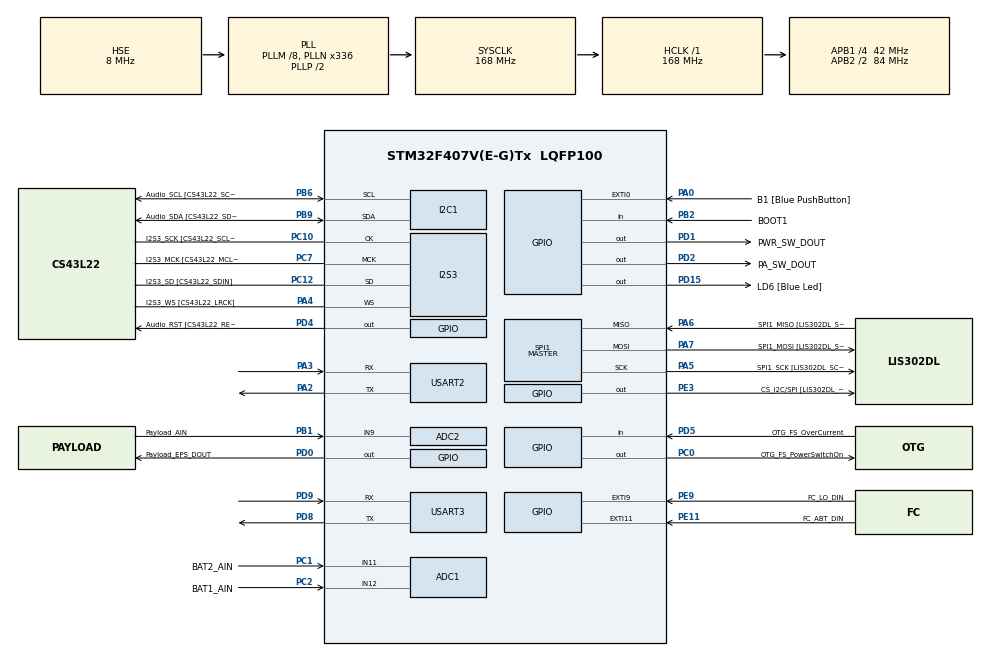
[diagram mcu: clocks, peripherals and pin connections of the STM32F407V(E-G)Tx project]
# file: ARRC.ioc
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ADC1.Channel-2\#ChannelRegularConversion=ADC_CHANNEL_11
ADC1.NbrOfConversionFlag=1
ADC1.Rank-2\#ChannelRegularConversion=1
ADC1.SamplingTime-2\#ChannelRegularConversion=ADC_SAMPLETIME_3CYCLES
ADC1.master=1
ADC2.Channel-1\#ChannelRegularConversion=ADC_CHANNEL_9
ADC2.NbrOfConversionFlag=1
ADC2.Rank-1\#ChannelRegularConversion=1
ADC2.SamplingTime-1\#ChannelRegularConversion=ADC_SAMPLETIME_3CYCLES
FREERTOS.Tasks01=defaultTask,24,128,StartDefaultTask,Default,NULL,Dynamic,NULL,NULL
FREERTOS.configENABLE_FPU=1
I2S3.AudioFreq-Half_Duplex_Master=I2S_AUDIOFREQ_96K
I2S3.ErrorAudioFreq=-2.34 %
I2S3.ErrorAudioFreq-Half_Duplex_Master=0.8 %
I2S3.FullDuplexMode=I2S_FULLDUPLEXMODE_DISABLE
I2S3.Instance=SPI$Index
I2S3.RealAudioFreq=93.75 KHz
I2S3.RealAudioFreq-Half_Duplex_Master=96.774 KHz
I2S3.VirtualMode=I2S_MODE_MASTER
IWDG.Prescaler=IWDG_PRESCALER_16
Mcu.Family=STM32F4
Mcu.Name=STM32F407V(E-G)Tx
Mcu.Package=LQFP100
NVIC.EXTI15_10_IRQn=true\:5\:0\:false\:false\:true\:false\:true\:true
NVIC.EXTI9_5_IRQn=true\:5\:0\:false\:false\:true\:false\:true\:true
NVIC.PriorityGroup=NVIC_PRIORITYGROUP_4
NVIC.USART3_IRQn=true\:5\:0\:false\:false\:true\:true\:true\:true
PA0-WKUP.GPIO_Label=B1 [Blue PushButton]
PA0-WKUP.GPIO_ModeDefaultEXTI=GPIO_MODE_EVT_RISING
PA0-WKUP.GPIO_PuPd=GPIO_NOPULL
PA0-WKUP.Signal=GPXTI0
PA10.GPIO_Label=OTG_FS_ID
PA10.GPIO_Mode=GPIO_MODE_AF_PP
PA10.GPIO_PuPd=GPIO_NOPULL
PA10.GPIO_Speed=GPIO_SPEED_FREQ_LOW
PA10.Signal=USB_OTG_FS_ID
PA11.GPIO_Label=OTG_FS_DM
PA11.GPIO_Mode=GPIO_MODE_AF_PP
PA11.GPIO_PuPd=GPIO_NOPULL
PA11.GPIO_Speed=GPIO_SPEED_FREQ_LOW
PA11.Signal=USB_OTG_FS_DM
PA12.GPIO_Label=OTG_FS_DP
PA12.GPIO_Mode=GPIO_MODE_AF_PP
PA12.GPIO_PuPd=GPIO_NOPULL
PA12.GPIO_Speed=GPIO_SPEED_FREQ_LOW
PA12.Signal=USB_OTG_FS_DP
PA13.GPIO_Label=SWDIO
PA13.Mode=Serial_Wire
PA13.Signal=SYS_JTMS-SWDIO
PA14.GPIO_Label=SWCLK
PA14.Mode=Serial_Wire
PA14.Signal=SYS_JTCK-SWCLK
PA2.Mode=Asynchronous
PA2.Signal=USART2_TX
PA3.Mode=Asynchronous
PA3.Signal=USART2_RX
PA4.GPIO_Label=I2S3_WS [CS43L22_LRCK]
PA4.GPIO_Mode=GPIO_MODE_AF_PP
PA4.GPIO_PuPd=GPIO_NOPULL
PA4.GPIO_Speed=GPIO_SPEED_FREQ_LOW
PA4.Mode=Half_Duplex_Master
PA4.Signal=I2S3_WS
PA5.GPIO_Label=SPI1_SCK [LIS302DL_SCL/SPC]
PA5.GPIO_Mode=GPIO_MODE_AF_PP
PA5.GPIO_PuPd=GPIO_NOPULL
PA5.GPIO_Speed=GPIO_SPEED_FREQ_LOW
PA5.Mode=Full_Duplex_Master
PA5.Signal=SPI1_SCK
PA6.GPIO_Label=SPI1_MISO [LIS302DL_SDO]
PA6.GPIO_Mode=GPIO_MODE_AF_PP
PA6.GPIO_PuPd=GPIO_NOPULL
PA6.GPIO_Speed=GPIO_SPEED_FREQ_LOW
PA6.Mode=Full_Duplex_Master
PA6.Signal=SPI1_MISO
PA7.GPIO_Label=SPI1_MOSI [LIS302DL_SDA/SDI/SDO]
PA7.GPIO_Mode=GPIO_MODE_AF_PP
PA7.GPIO_PuPd=GPIO_NOPULL
PA7.GPIO_Speed=GPIO_SPEED_FREQ_LOW
PA7.Mode=Full_Duplex_Master
PA7.Signal=SPI1_MOSI
PA9.GPIO_Label=VBUS_FS
PA9.GPIO_Mode=GPIO_MODE_INPUT
PA9.GPIO_PuPd=GPIO_NOPULL
PA9.Signal=USB_OTG_FS_VBUS
PB1.GPIO_Label=Payload_AIN
PB1.Signal=ADCx_IN9
PB10.GPIO_Label=CLK_IN [MP45DT02_CLK]
PB10.GPIO_Mode=GPIO_MODE_AF_PP
PB10.GPIO_PuPd=GPIO_NOPULL
PB10.GPIO_Speed=GPIO_SPEED_FREQ_LOW
PB10.Signal=I2S2_CK
PB2.GPIO_Label=BOOT1
PB2.GPIO_Mode=GPIO_MODE_INPUT
PB2.GPIO_PuPd=GPIO_NOPULL
PB2.Signal=GPIO_Input
PB3.GPIO_Label=SWO
PB3.Signal=SYS_JTDO-SWO
PB6.GPIO_Label=Audio_SCL [CS43L22_SCL]
PB6.GPIO_Mode=GPIO_MODE_AF_OD
PB6.GPIO_PuPd=GPIO_NOPULL
PB6.GPIO_Speed=GPIO_SPEED_FREQ_LOW
PB6.Mode=I2C
PB6.Signal=I2C1_SCL
PB9.GPIO_Label=Audio_SDA [CS43L22_SDA]
PB9.GPIO_Mode=GPIO_MODE_AF_OD
PB9.GPIO_PuPd=GPIO_NOPULL
PB9.GPIO_Speed=GPIO_SPEED_FREQ_LOW
PB9.Mode=I2C
PB9.Signal=I2C1_SDA
PC0.GPIO_Label=OTG_FS_PowerSwitchOn
PC0.GPIO_PuPd=GPIO_NOPULL
PC0.GPIO_Speed=GPIO_SPEED_FREQ_LOW
PC0.PinState=GPIO_PIN_SET
PC0.Signal=GPIO_Output
PC1.GPIO_Label=BAT2_AIN
PC1.Signal=ADCx_IN11
PC10.GPIO_Label=I2S3_SCK [CS43L22_SCLK]
PC10.GPIO_Mode=GPIO_MODE_AF_PP
PC10.GPIO_PuPd=GPIO_NOPULL
PC10.GPIO_Speed=GPIO_SPEED_FREQ_LOW
PC10.Mode=Half_Duplex_Master
PC10.Signal=I2S3_CK
PC12.GPIO_Label=I2S3_SD [CS43L22_SDIN]
PC12.GPIO_Mode=GPIO_MODE_AF_PP
PC12.GPIO_PuPd=GPIO_NOPULL
PC12.GPIO_Speed=GPIO_SPEED_FREQ_LOW
PC12.Mode=Half_Duplex_Master
PC12.Signal=I2S3_SD
PC14-OSC32_IN.GPIO_Label=PC14-OSC32_IN
PC14-OSC32_IN.Mode=LSE-External-Oscillator
PC14-OSC32_IN.Signal=RCC_OSC32_IN
PC15-OSC32_OUT.GPIO_Label=PC15-OSC32_OUT
PC15-OSC32_OUT.Mode=LSE-External-Oscillator
PC15-OSC32_OUT.Signal=RCC_OSC32_OUT
PC2.GPIO_Label=BAT1_AIN
PC2.Signal=ADCx_IN12
PC3.GPIO_Label=PDM_OUT [MP45DT02_DOUT]
PC3.GPIO_Mode=GPIO_MODE_AF_PP
PC3.GPIO_PuPd=GPIO_NOPULL
PC3.GPIO_Speed=GPIO_SPEED_FREQ_LOW
PC3.Signal=I2S2_SD
PC7.GPIO_Label=I2S3_MCK [CS43L22_MCLK]
PC7.GPIO_Mode=GPIO_MODE_AF_PP
PC7.GPIO_PuPd=GPIO_NOPULL
PC7.GPIO_Speed=GPIO_SPEED_FREQ_LOW
PC7.Mode=Master_Clock_Activated
PC7.Signal=I2S3_MCK
PD0.GPIO_Label=Payload_EPS_DOUT
PD0.Signal=GPIO_Output
PD1.GPIO_Label=PWR_SW_DOUT
PD1.Signal=GPIO_Output
PD15.GPIO_Label=LD6 [Blue Led]
PD15.GPIO_PuPd=GPIO_NOPULL
PD15.GPIO_Speed=GPIO_SPEED_FREQ_LOW
PD15.Signal=GPIO_Output
PD2.GPIO_Label=PA_SW_DOUT
PD2.Signal=GPIO_Output
PD4.GPIO_Label=Audio_RST [CS43L22_RESET]
PD4.GPIO_PuPd=GPIO_NOPULL
PD4.GPIO_Speed=GPIO_SPEED_FREQ_LOW
PD4.Signal=GPIO_Output
PD5.GPIO_Label=OTG_FS_OverCurrent
PD5.GPIO_Mode=GPIO_MODE_INPUT
PD5.GPIO_PuPd=GPIO_NOPULL
PD5.Signal=GPIO_Input
PD8.Mode=Asynchronous
PD8.Signal=USART3_TX
PD9.Mode=Asynchronous
PD9.Signal=USART3_RX
PE11.GPIO_Label=FC_ABT_DIN
PE11.Signal=GPXTI11
PE3.GPIO_Label=CS_I2C/SPI [LIS302DL_CS_I2C/SPI]
PE3.GPIO_PuPd=GPIO_NOPULL
PE3.GPIO_Speed=GPIO_SPEED_FREQ_LOW
PE3.Signal=GPIO_Output
PE9.GPIO_Label=FC_LO_DIN
PE9.Signal=GPXTI9
PH0-OSC_IN.GPIO_Label=PH0-OSC_IN
PH0-OSC_IN.Mode=HSE-External-Oscillator
PH0-OSC_IN.Signal=RCC_OSC_IN
PH1-OSC_OUT.GPIO_Label=PH1-OSC_OUT
PH1-OSC_OUT.Mode=HSE-External-Oscillator
PH1-OSC_OUT.Signal=RCC_OSC_OUT
ProjectManager.HeapSize=0x200
ProjectManager.StackSize=0x400
ProjectManager.TargetToolchain=Makefile
RCC.48MHZClocksFreq_Value=48000000
RCC.AHBFreq_Value=168000000
RCC.APB1CLKDivider=RCC_HCLK_DIV4
RCC.APB1Freq_Value=42000000
RCC.APB1TimFreq_Value=84000000
RCC.APB2CLKDivider=RCC_HCLK_DIV2
RCC.APB2Freq_Value=84000000
RCC.APB2TimFreq_Value=168000000
RCC.CortexFreq_Value=168000000
RCC.HCLKFreq_Value=168000000
RCC.HSE_VALUE=8000000
RCC.HSI_VALUE=16000000
RCC.PLLM=8
RCC.PLLN=336
RCC.PLLQ=7
RCC.PLLSourceVirtual=RCC_PLLSOURCE_HSE
RCC.SYSCLKFreq_VALUE=168000000
RCC.SYSCLKSource=RCC_SYSCLKSOURCE_PLLCLK
RCC.VCOOutputFreq_Value=336000000
SH.ADCx_IN11.0=ADC1_IN11,IN11
SH.ADCx_IN12.0=ADC1_IN12,IN12
SH.ADCx_IN9.0=ADC2_IN9,IN9
SPI1.BaudRatePrescaler-Full_Duplex_Master=SPI_BAUDRATEPRESCALER_2
SPI1.CalculateBaudRate-Full_Duplex_Master=42.0 MBits/s
SPI1.Direction=SPI_DIRECTION_2LINES
SPI1.Mode=SPI_MODE_MASTER
SPI1.Mode-Full_Duplex_Master=SPI_MODE_MASTER
SPI1.VirtualType=VM_MASTER
USART2.VirtualMode=VM_ASYNC
USART3.VirtualMode=VM_ASYNC
VP_FREERTOS_VS_CMSIS_V2.Mode=CMSIS_V2
VP_IWDG_VS_IWDG.Mode=IWDG_Activate
VP_RTC_VS_RTC_Activate.Mode=RTC_Enabled
VP_RTC_VS_RTC_Calendar.Mode=RTC_Calendar
VP_TIM1_VS_ClockSourceINT.Mode=Internal
board=STM32F407G-DISC1

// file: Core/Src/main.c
/* USER CODE BEGIN Header */
/**
  ******************************************************************************
  * @file           : main.c
  * @brief          : Main program body
  ******************************************************************************
  * @attention
  *
  * <h2><center>&copy; Copyright (c) 2021 STMicroelectronics.
  * All rights reserved.</center></h2>
  *
  * This software component is licensed by ST under Ultimate Liberty license
  * SLA0044, the "License"; You may not use this file except in compliance with
  * the License. You may obtain a copy of the License at:
  *                             www.st.com/SLA0044
  *
  ******************************************************************************
  */
/* USER CODE END Header */
#include "main.h"
#include "stdio.h"
#include "string.h"
#include "FreeRTOSConfig.h"
#include "FreeRTOS.h"
#include "task.h"
#include "queue.h"
#include "event_groups.h"
/* USER CODE BEGIN Includes */
#include "stm32f407xx.h"
#include "arm_math.h"
#include "stm32f4_discovery_accelerometer.h"

/* USER CODE END Includes */

/* USER CODE BEGIN PD */
#define IWDG_BIT_rtcTask		(1 << 0)			/*RTC flag			(0000 0001)*/
#define IWDG_BIT_acceleroTask           (1 << 1)			/*Accelero flag 		(0000 0010)*/
#define IWDG_BIT_transmitTask		(1 << 2)			/*Transmit flag			(0000 0100)*/
#define IWDG_BIT_payloadTask		(1 << 3)			/*payload flag			(0000 1000)*/
/* Group bit define */
#define	IWDG_BIT_Beacon	 (IWDG_BIT_rtcTask | IWDG_BIT_acceleroTask | IWDG_BIT_transmitTask)	/* Beacon  Group (0000 0111) */
#define	IWDG_BIT_Payload (IWDG_BIT_rtcTask | IWDG_BIT_payloadTask | IWDG_BIT_transmitTask)	/* payload Group (0000 1011) */

/* USER CODE END PD */

/* USER CODE BEGIN PM */
uint8_t RX1_Char = 0x00;/* MODE Change variable Global variable*/
data_store acceler_store;/* store Accelero */
/* USER CODE END PM */

ADC_HandleTypeDef hadc1;
ADC_HandleTypeDef hadc2;

I2C_HandleTypeDef hi2c1;

I2S_HandleTypeDef hi2s3;

IWDG_HandleTypeDef hiwdg;

RTC_HandleTypeDef hrtc;

SPI_HandleTypeDef hspi1;

TIM_HandleTypeDef htim1;

UART_HandleTypeDef huart2;
UART_HandleTypeDef huart3;

/* Definitions for defaultTask */

/* USER CODE BEGIN PV */
TaskHandle_t LaunchTest = NULL;
TaskHandle_t Referance = NULL;
TaskHandle_t Iwdg = NULL;
TaskHandle_t RealTimeClock = NULL;
TaskHandle_t Accelero = NULL;
TaskHandle_t Payload = NULL;
TaskHandle_t Transmit = NULL;

xQueueHandle rtcQueue, acceleroQueue;
EventGroupHandle_t iwdgEventGroup;
EventBits_t uxBits;

/* USER CODE END PV */

void SystemClock_Config(void);
static void MX_GPIO_Init(void);
static void MX_ADC1_Init(void);
static void MX_ADC2_Init(void);
static void MX_I2C1_Init(void);
static void MX_I2S3_Init(void);
static void MX_IWDG_Init(void);
static void MX_RTC_Init(void);
static void MX_SPI1_Init(void);
static void MX_TIM1_Init(void);
static void MX_USART2_UART_Init(void);
static void MX_USART3_UART_Init(void);
/* User function call */
uint8_t Mode_take(void);
void UARTRx_IT(void);
void LoRa_Set(void);
void Uplink_Ground(void);
void Accelero_funct(void);
void Accelero_RMS_q(void);
void beacon_data_f(void);
void Flash_Write(uint32_t Flash_Address, uint32_t Flash_Data);//Ex : Flash_Write(0x080E0000,Data);
uint32_t Flash_Read(uint32_t Flash_Address);		      //Ex : data =Flash_Read(0x080E0000);
void StartCreateTask(void);
void IWDGReset_Init(void);
void LaunchTestTask(void *argument);
void ReferanceTask(void *argument);
void IwdgTask(void *argument);
void RealTimeClockTask(void *argument);
void AcceleroTask(void *argument);
void PayloadTask(void *argument);
void TransmitTask(void *argument);

int main(void)
{
  /* MCU Configuration--------------------------------------------------------*/

  /* Reset of all peripherals, Initializes the Flash interface and the Systick. */
  HAL_Init();

  /* Configure the system clock */
  SystemClock_Config();

  /* Initialize all configured peripherals */
  MX_GPIO_Init();
  MX_ADC1_Init();
  MX_ADC2_Init();
  MX_I2C1_Init();
  MX_I2S3_Init();
  //MX_IWDG_Init();//program enable when debug 2 sec need to reset
  MX_RTC_Init();
  MX_SPI1_Init();
  MX_TIM1_Init();
  MX_USART2_UART_Init();
  MX_USART3_UART_Init();

  BSP_ACCELERO_Init();
  UARTRx_IT();
  LoRa_Set();

  /* USER CODE BEGIN RTOS_QUEUES */
  rtcQueue = xQueueCreate(1,sizeof(RTC_TimeTypeDef));
  acceleroQueue = xQueueCreate(1,sizeof(accelero_datastruct));

  /* USER CODE END RTOS_QUEUES */

  RX1_Char = Mode_take();/* Retake Mode if reseet from watchdag */
  IWDGReset_Init();//PA power on

  /* USER CODE BEGIN RTOS_THREADS */
  StartCreateTask();

  /* USER CODE END RTOS_THREADS */

  /* USER CODE BEGIN RTOS_EVENTS */
  iwdgEventGroup = xEventGroupCreate();

  /* USER CODE END RTOS_EVENTS */

  /* Start scheduler */
  vTaskStartScheduler();

  /* We should never get here as control is now taken by the scheduler */
  /* Infinite loop */
  while (1)
  {

  }
}

void SystemClock_Config(void)
{
  RCC_OscInitTypeDef RCC_OscInitStruct = {0};
  RCC_ClkInitTypeDef RCC_ClkInitStruct = {0};
  RCC_PeriphCLKInitTypeDef PeriphClkInitStruct = {0};

  /** Configure the main internal regulator output voltage
  */
  __HAL_RCC_PWR_CLK_ENABLE();
  __HAL_PWR_VOLTAGESCALING_CONFIG(PWR_REGULATOR_VOLTAGE_SCALE1);
  /** Initializes the RCC Oscillators according to the specified parameters
  * in the RCC_OscInitTypeDef structure.
  */
  RCC_OscInitStruct.OscillatorType = RCC_OSCILLATORTYPE_LSI|RCC_OSCILLATORTYPE_HSE;
  RCC_OscInitStruct.HSEState = RCC_HSE_ON;
  RCC_OscInitStruct.LSIState = RCC_LSI_ON;
  RCC_OscInitStruct.PLL.PLLState = RCC_PLL_ON;
  RCC_OscInitStruct.PLL.PLLSource = RCC_PLLSOURCE_HSE;
  RCC_OscInitStruct.PLL.PLLM = 8;
  RCC_OscInitStruct.PLL.PLLN = 336;
  RCC_OscInitStruct.PLL.PLLP = RCC_PLLP_DIV2;
  RCC_OscInitStruct.PLL.PLLQ = 7;
  if (HAL_RCC_OscConfig(&RCC_OscInitStruct) != HAL_OK)
  {
    Error_Handler();
  }
  /** Initializes the CPU, AHB and APB buses clocks
  */
  RCC_ClkInitStruct.ClockType = RCC_CLOCKTYPE_HCLK|RCC_CLOCKTYPE_SYSCLK
                              |RCC_CLOCKTYPE_PCLK1|RCC_CLOCKTYPE_PCLK2;
  RCC_ClkInitStruct.SYSCLKSource = RCC_SYSCLKSOURCE_PLLCLK;
  RCC_ClkInitStruct.AHBCLKDivider = RCC_SYSCLK_DIV1;
  RCC_ClkInitStruct.APB1CLKDivider = RCC_HCLK_DIV4;
  RCC_ClkInitStruct.APB2CLKDivider = RCC_HCLK_DIV2;

  if (HAL_RCC_ClockConfig(&RCC_ClkInitStruct, FLASH_LATENCY_5) != HAL_OK)
  {
    Error_Handler();
  }
  PeriphClkInitStruct.PeriphClockSelection = RCC_PERIPHCLK_I2S|RCC_PERIPHCLK_RTC;
  PeriphClkInitStruct.PLLI2S.PLLI2SN = 192;
  PeriphClkInitStruct.PLLI2S.PLLI2SR = 2;
  PeriphClkInitStruct.RTCClockSelection = RCC_RTCCLKSOURCE_LSI;
  if (HAL_RCCEx_PeriphCLKConfig(&PeriphClkInitStruct) != HAL_OK)
  {
    Error_Handler();
  }
}

static void MX_ADC1_Init(void)
{

  ADC_ChannelConfTypeDef sConfig = {0};

  /** Configure the global features of the ADC (Clock, Resolution, Data Alignment and number of conversion)
  */
  hadc1.Instance = ADC1;
  hadc1.Init.ClockPrescaler = ADC_CLOCK_SYNC_PCLK_DIV4;
  hadc1.Init.Resolution = ADC_RESOLUTION_12B;
  hadc1.Init.ScanConvMode = DISABLE;
  hadc1.Init.ContinuousConvMode = DISABLE;
  hadc1.Init.DiscontinuousConvMode = DISABLE;
  hadc1.Init.ExternalTrigConvEdge = ADC_EXTERNALTRIGCONVEDGE_NONE;
  hadc1.Init.ExternalTrigConv = ADC_SOFTWARE_START;
  hadc1.Init.DataAlign = ADC_DATAALIGN_RIGHT;
  hadc1.Init.NbrOfConversion = 1;
  hadc1.Init.DMAContinuousRequests = DISABLE;
  hadc1.Init.EOCSelection = ADC_EOC_SINGLE_CONV;
  if (HAL_ADC_Init(&hadc1) != HAL_OK)
  {
    Error_Handler();
  }
  /** Configure for the selected ADC regular channel its corresponding rank in the sequencer and its sample time.
  */
  sConfig.Channel = ADC_CHANNEL_11;
  sConfig.Rank = 1;
  sConfig.SamplingTime = ADC_SAMPLETIME_3CYCLES;
  if (HAL_ADC_ConfigChannel(&hadc1, &sConfig) != HAL_OK)
  {
    Error_Handler();
  }

}

static void MX_ADC2_Init(void)
{

  ADC_ChannelConfTypeDef sConfig = {0};

  /** Configure the global features of the ADC (Clock, Resolution, Data Alignment and number of conversion)
  */
  hadc2.Instance = ADC2;
  hadc2.Init.ClockPrescaler = ADC_CLOCK_SYNC_PCLK_DIV4;
  hadc2.Init.Resolution = ADC_RESOLUTION_12B;
  hadc2.Init.ScanConvMode = DISABLE;
  hadc2.Init.ContinuousConvMode = DISABLE;
  hadc2.Init.DiscontinuousConvMode = DISABLE;
  hadc2.Init.ExternalTrigConvEdge = ADC_EXTERNALTRIGCONVEDGE_NONE;
  hadc2.Init.ExternalTrigConv = ADC_SOFTWARE_START;
  hadc2.Init.DataAlign = ADC_DATAALIGN_RIGHT;
  hadc2.Init.NbrOfConversion = 1;
  hadc2.Init.DMAContinuousRequests = DISABLE;
  hadc2.Init.EOCSelection = ADC_EOC_SINGLE_CONV;
  if (HAL_ADC_Init(&hadc2) != HAL_OK)
  {
    Error_Handler();
  }
  /** Configure for the selected ADC regular channel its corresponding rank in the sequencer and its sample time.
  */
  sConfig.Channel = ADC_CHANNEL_9;
  sConfig.Rank = 1;
  sConfig.SamplingTime = ADC_SAMPLETIME_3CYCLES;
  if (HAL_ADC_ConfigChannel(&hadc2, &sConfig) != HAL_OK)
  {
    Error_Handler();
  }

}

static void MX_I2C1_Init(void)
{

  hi2c1.Instance = I2C1;
  hi2c1.Init.ClockSpeed = 100000;
  hi2c1.Init.DutyCycle = I2C_DUTYCYCLE_2;
  hi2c1.Init.OwnAddress1 = 0;
  hi2c1.Init.AddressingMode = I2C_ADDRESSINGMODE_7BIT;
  hi2c1.Init.DualAddressMode = I2C_DUALADDRESS_DISABLE;
  hi2c1.Init.OwnAddress2 = 0;
  hi2c1.Init.GeneralCallMode = I2C_GENERALCALL_DISABLE;
  hi2c1.Init.NoStretchMode = I2C_NOSTRETCH_DISABLE;
  if (HAL_I2C_Init(&hi2c1) != HAL_OK)
  {
    Error_Handler();
  }

}

static void MX_I2S3_Init(void)
{

  hi2s3.Instance = SPI3;
  hi2s3.Init.Mode = I2S_MODE_MASTER_TX;
  hi2s3.Init.Standard = I2S_STANDARD_PHILIPS;
  hi2s3.Init.DataFormat = I2S_DATAFORMAT_16B;
  hi2s3.Init.MCLKOutput = I2S_MCLKOUTPUT_ENABLE;
  hi2s3.Init.AudioFreq = I2S_AUDIOFREQ_96K;
  hi2s3.Init.CPOL = I2S_CPOL_LOW;
  hi2s3.Init.ClockSource = I2S_CLOCK_PLL;
  hi2s3.Init.FullDuplexMode = I2S_FULLDUPLEXMODE_DISABLE;
  if (HAL_I2S_Init(&hi2s3) != HAL_OK)
  {
    Error_Handler();
  }

}

static void MX_IWDG_Init(void)
{

  hiwdg.Instance = IWDG;
  hiwdg.Init.Prescaler = IWDG_PRESCALER_4;
  hiwdg.Init.Reload = 4095;
  if (HAL_IWDG_Init(&hiwdg) != HAL_OK)
  {
    Error_Handler();
  }

}

static void MX_RTC_Init(void)
{

  RTC_TimeTypeDef sTime = {0};
  RTC_DateTypeDef sDate = {0};

  /** Initialize RTC Only
  */
  hrtc.Instance = RTC;
  hrtc.Init.HourFormat = RTC_HOURFORMAT_24;
  hrtc.Init.AsynchPrediv = 127;
  hrtc.Init.SynchPrediv = 255;
  hrtc.Init.OutPut = RTC_OUTPUT_DISABLE;
  hrtc.Init.OutPutPolarity = RTC_OUTPUT_POLARITY_HIGH;
  hrtc.Init.OutPutType = RTC_OUTPUT_TYPE_OPENDRAIN;
  if (HAL_RTC_Init(&hrtc) != HAL_OK)
  {
    Error_Handler();
  }

  /** Initialize RTC and set the Time and Date
  */
  sTime.Hours = 0x0;
  sTime.Minutes = 0x0;
  sTime.Seconds = 0x0;
  sTime.DayLightSaving = RTC_DAYLIGHTSAVING_NONE;
  sTime.StoreOperation = RTC_STOREOPERATION_RESET;
  if (HAL_RTC_SetTime(&hrtc, &sTime, RTC_FORMAT_BCD) != HAL_OK)
  {
    Error_Handler();
  }
  sDate.WeekDay = RTC_WEEKDAY_MONDAY;
  sDate.Month = RTC_MONTH_JANUARY;
  sDate.Date = 0x1;
  sDate.Year = 0x0;

  if (HAL_RTC_SetDate(&hrtc, &sDate, RTC_FORMAT_BCD) != HAL_OK)
  {
    Error_Handler();
  }

}

static void MX_SPI1_Init(void)
{

  /* SPI1 parameter configuration*/
  hspi1.Instance = SPI1;
  hspi1.Init.Mode = SPI_MODE_MASTER;
  hspi1.Init.Direction = SPI_DIRECTION_2LINES;
  hspi1.Init.DataSize = SPI_DATASIZE_8BIT;
  hspi1.Init.CLKPolarity = SPI_POLARITY_LOW;
  hspi1.Init.CLKPhase = SPI_PHASE_1EDGE;
  hspi1.Init.NSS = SPI_NSS_SOFT;
  hspi1.Init.BaudRatePrescaler = SPI_BAUDRATEPRESCALER_2;
  hspi1.Init.FirstBit = SPI_FIRSTBIT_MSB;
  hspi1.Init.TIMode = SPI_TIMODE_DISABLE;
  hspi1.Init.CRCCalculation = SPI_CRCCALCULATION_DISABLE;
  hspi1.Init.CRCPolynomial = 10;
  if (HAL_SPI_Init(&hspi1) != HAL_OK)
  {
    Error_Handler();
  }

}

static void MX_TIM1_Init(void)
{

  TIM_ClockConfigTypeDef sClockSourceConfig = {0};
  TIM_MasterConfigTypeDef sMasterConfig = {0};

  htim1.Instance = TIM1;
  htim1.Init.Prescaler = 0;
  htim1.Init.CounterMode = TIM_COUNTERMODE_UP;
  htim1.Init.Period = 65535;
  htim1.Init.ClockDivision = TIM_CLOCKDIVISION_DIV1;
  htim1.Init.RepetitionCounter = 0;
  htim1.Init.AutoReloadPreload = TIM_AUTORELOAD_PRELOAD_DISABLE;
  if (HAL_TIM_Base_Init(&htim1) != HAL_OK)
  {
    Error_Handler();
  }
  sClockSourceConfig.ClockSource = TIM_CLOCKSOURCE_INTERNAL;
  if (HAL_TIM_ConfigClockSource(&htim1, &sClockSourceConfig) != HAL_OK)
  {
    Error_Handler();
  }
  sMasterConfig.MasterOutputTrigger = TIM_TRGO_RESET;
  sMasterConfig.MasterSlaveMode = TIM_MASTERSLAVEMODE_DISABLE;
  if (HAL_TIMEx_MasterConfigSynchronization(&htim1, &sMasterConfig) != HAL_OK)
  {
    Error_Handler();
  }

}

static void MX_USART2_UART_Init(void)
{

  huart2.Instance = USART2;
  huart2.Init.BaudRate = 115200;
  huart2.Init.WordLength = UART_WORDLENGTH_8B;
  huart2.Init.StopBits = UART_STOPBITS_1;
  huart2.Init.Parity = UART_PARITY_NONE;
  huart2.Init.Mode = UART_MODE_TX_RX;
  huart2.Init.HwFlowCtl = UART_HWCONTROL_NONE;
  huart2.Init.OverSampling = UART_OVERSAMPLING_16;
  if (HAL_UART_Init(&huart2) != HAL_OK)
  {
    Error_Handler();
  }

}

static void MX_USART3_UART_Init(void)
{

  huart3.Instance = USART3;
  huart3.Init.BaudRate = 115200;
  huart3.Init.WordLength = UART_WORDLENGTH_8B;
  huart3.Init.StopBits = UART_STOPBITS_1;
  huart3.Init.Parity = UART_PARITY_NONE;
  huart3.Init.Mode = UART_MODE_TX_RX;
  huart3.Init.HwFlowCtl = UART_HWCONTROL_NONE;
  huart3.Init.OverSampling = UART_OVERSAMPLING_16;
  if (HAL_UART_Init(&huart3) != HAL_OK)
  {
    Error_Handler();
  }

}

static void MX_GPIO_Init(void)
{
  GPIO_InitTypeDef GPIO_InitStruct = {0};

  /* GPIO Ports Clock Enable */
  __HAL_RCC_GPIOE_CLK_ENABLE();
  __HAL_RCC_GPIOC_CLK_ENABLE();
  __HAL_RCC_GPIOH_CLK_ENABLE();
  __HAL_RCC_GPIOA_CLK_ENABLE();
  __HAL_RCC_GPIOB_CLK_ENABLE();
  __HAL_RCC_GPIOD_CLK_ENABLE();

  /*Configure GPIO pin Output Level */
  HAL_GPIO_WritePin(CS_I2C_SPI_GPIO_Port, CS_I2C_SPI_Pin, GPIO_PIN_RESET);

  /*Configure GPIO pin Output Level */
  HAL_GPIO_WritePin(OTG_FS_PowerSwitchOn_GPIO_Port, OTG_FS_PowerSwitchOn_Pin, GPIO_PIN_SET);

  /*Configure GPIO pin Output Level */
  HAL_GPIO_WritePin(GPIOD, LD6_Pin|Payload_EPS_DOUT_Pin|PWR_SW_DOUT_Pin|PA_SW_DOUT_Pin
                          |Audio_RST_Pin, GPIO_PIN_RESET);

  /*Configure GPIO pin : CS_I2C_SPI_Pin */
  GPIO_InitStruct.Pin = CS_I2C_SPI_Pin;
  GPIO_InitStruct.Mode = GPIO_MODE_OUTPUT_PP;
  GPIO_InitStruct.Pull = GPIO_NOPULL;
  GPIO_InitStruct.Speed = GPIO_SPEED_FREQ_LOW;
  HAL_GPIO_Init(CS_I2C_SPI_GPIO_Port, &GPIO_InitStruct);

  /*Configure GPIO pin : OTG_FS_PowerSwitchOn_Pin */
  GPIO_InitStruct.Pin = OTG_FS_PowerSwitchOn_Pin;
  GPIO_InitStruct.Mode = GPIO_MODE_OUTPUT_PP;
  GPIO_InitStruct.Pull = GPIO_NOPULL;
  GPIO_InitStruct.Speed = GPIO_SPEED_FREQ_LOW;
  HAL_GPIO_Init(OTG_FS_PowerSwitchOn_GPIO_Port, &GPIO_InitStruct);

  /*Configure GPIO pin : PDM_OUT_Pin */
  GPIO_InitStruct.Pin = PDM_OUT_Pin;
  GPIO_InitStruct.Mode = GPIO_MODE_AF_PP;
  GPIO_InitStruct.Pull = GPIO_NOPULL;
  GPIO_InitStruct.Speed = GPIO_SPEED_FREQ_LOW;
  GPIO_InitStruct.Alternate = GPIO_AF5_SPI2;
  HAL_GPIO_Init(PDM_OUT_GPIO_Port, &GPIO_InitStruct);

  /*Configure GPIO pin : B1_Pin */
  GPIO_InitStruct.Pin = B1_Pin;
  GPIO_InitStruct.Mode = GPIO_MODE_EVT_RISING;
  GPIO_InitStruct.Pull = GPIO_NOPULL;
  HAL_GPIO_Init(B1_GPIO_Port, &GPIO_InitStruct);

  /*Configure GPIO pin : BOOT1_Pin */
  GPIO_InitStruct.Pin = BOOT1_Pin;
  GPIO_InitStruct.Mode = GPIO_MODE_INPUT;
  GPIO_InitStruct.Pull = GPIO_NOPULL;
  HAL_GPIO_Init(BOOT1_GPIO_Port, &GPIO_InitStruct);

  /*Configure GPIO pins : FC_LO_DIN_Pin FC_ABT_DIN_Pin */
  GPIO_InitStruct.Pin = FC_LO_DIN_Pin|FC_ABT_DIN_Pin;
  GPIO_InitStruct.Mode = GPIO_MODE_IT_RISING;
  GPIO_InitStruct.Pull = GPIO_NOPULL;
  HAL_GPIO_Init(GPIOE, &GPIO_InitStruct);

  /*Configure GPIO pin : CLK_IN_Pin */
  GPIO_InitStruct.Pin = CLK_IN_Pin;
  GPIO_InitStruct.Mode = GPIO_MODE_AF_PP;
  GPIO_InitStruct.Pull = GPIO_NOPULL;
  GPIO_InitStruct.Speed = GPIO_SPEED_FREQ_LOW;
  GPIO_InitStruct.Alternate = GPIO_AF5_SPI2;
  HAL_GPIO_Init(CLK_IN_GPIO_Port, &GPIO_InitStruct);

  /*Configure GPIO pins : LD6_Pin Payload_EPS_DOUT_Pin PWR_SW_DOUT_Pin PA_SW_DOUT_Pin
                           Audio_RST_Pin */
  GPIO_InitStruct.Pin = LD6_Pin|Payload_EPS_DOUT_Pin|PWR_SW_DOUT_Pin|PA_SW_DOUT_Pin
                          |Audio_RST_Pin;
  GPIO_InitStruct.Mode = GPIO_MODE_OUTPUT_PP;
  GPIO_InitStruct.Pull = GPIO_NOPULL;
  GPIO_InitStruct.Speed = GPIO_SPEED_FREQ_LOW;
  HAL_GPIO_Init(GPIOD, &GPIO_InitStruct);

  /*Configure GPIO pin : VBUS_FS_Pin */
  GPIO_InitStruct.Pin = VBUS_FS_Pin;
  GPIO_InitStruct.Mode = GPIO_MODE_INPUT;
  GPIO_InitStruct.Pull = GPIO_NOPULL;
  HAL_GPIO_Init(VBUS_FS_GPIO_Port, &GPIO_InitStruct);

  /*Configure GPIO pins : OTG_FS_ID_Pin OTG_FS_DM_Pin OTG_FS_DP_Pin */
  GPIO_InitStruct.Pin = OTG_FS_ID_Pin|OTG_FS_DM_Pin|OTG_FS_DP_Pin;
  GPIO_InitStruct.Mode = GPIO_MODE_AF_PP;
  GPIO_InitStruct.Pull = GPIO_NOPULL;
  GPIO_InitStruct.Speed = GPIO_SPEED_FREQ_LOW;
  GPIO_InitStruct.Alternate = GPIO_AF10_OTG_FS;
  HAL_GPIO_Init(GPIOA, &GPIO_InitStruct);

  /*Configure GPIO pin : OTG_FS_OverCurrent_Pin */
  GPIO_InitStruct.Pin = OTG_FS_OverCurrent_Pin;
  GPIO_InitStruct.Mode = GPIO_MODE_INPUT;
  GPIO_InitStruct.Pull = GPIO_NOPULL;
  HAL_GPIO_Init(OTG_FS_OverCurrent_GPIO_Port, &GPIO_InitStruct);

  /* EXTI interrupt init*/
  HAL_NVIC_SetPriority(EXTI9_5_IRQn, 0, 0);
  HAL_NVIC_EnableIRQ(EXTI9_5_IRQn);

  HAL_NVIC_SetPriority(EXTI15_10_IRQn, 0, 0);
  HAL_NVIC_EnableIRQ(EXTI15_10_IRQn);

}

/* USER CODE BEGIN Header_StartDefaultTask */
void StartCreateTask(void)// Stack size need to test
{
  if(RX1_Char == 0x00) xTaskCreate( LaunchTestTask, "launctest", 256, NULL, tskIDLE_PRIORITY + 6, &LaunchTest);
  xTaskCreate( ReferanceTask,  "referance", 512, NULL, tskIDLE_PRIORITY + 5, &Referance);
  xTaskCreate( IwdgTask, "iwdg", 256, NULL, tskIDLE_PRIORITY + 4, &Iwdg);
  xTaskCreate( RealTimeClockTask, "rtc", 256, NULL, tskIDLE_PRIORITY + 3, &RealTimeClock);
  if(RX1_Char != '8') xTaskCreate( AcceleroTask,  "accelero", 512, NULL, tskIDLE_PRIORITY + 2, &Accelero);
  xTaskCreate( PayloadTask,  "payload", 256, NULL, tskIDLE_PRIORITY + 2, &Payload);
  xTaskCreate( TransmitTask,  "transmit", 512, NULL, tskIDLE_PRIORITY + 1, &Transmit);
}
/* USER CODE END Header_StartDefaultTask */

/* Interrupt Handle */
void HAL_UART_RxCpltCallback(UART_HandleTypeDef *huart)
{
  uint8_t default_t[] = "\r\nError input!\r\n";
  uint8_t uplink[] = "\r\nGround station uplink succeed\r\n";
  HAL_UART_Receive_IT(&huart3, &RX1_Char, 1);
  switch(RX1_Char)
  {
      case '1':
      case '2':
      case '3':
      case '4':
      case '5':
      case 'A':
      case 'B':
      case 'C':
        HAL_UART_Transmit( &huart3, uplink, sizeof(uplink)-1,50);
       break;
      case '6':
        xTaskResumeFromISR(LaunchTest);
        break;
      /*case '7':
        xTaskResumeFromISR(Referance);
        break;//Debug test use*/
      default:
        HAL_UART_Transmit( &huart3, default_t, sizeof(default_t)-1,100);//Error output
        RX1_Char = 0x00;
  }
}
void HAL_GPIO_EXTI_Callback(uint16_t GPIO_Pin)//Need Hardware check
{
  if(GPIO_Pin == GPIO_PIN_9){
      RX1_Char = '7';
      xTaskResumeFromISR(Referance);
  }
  if(GPIO_Pin == GPIO_PIN_11){
      RX1_Char = '8';
      xTaskResumeFromISR(Referance);
  }
}

/* User CODE BEGIN My function */
void UARTRx_IT(void)
{
  HAL_UART_Receive_IT(&huart3, &RX1_Char, 1);
}

void LoRa_Set(void)
{
  /* LoRa Parameter Setting*/
  uint8_t PARAMETER[] = "AT+PARAMETER=10,7,1,7\r\n";//LoRa parameter setting
  uint8_t BAND[] = "AT+BAND=434000000\r\n";//434 MHz
  uint8_t CRFOP[] = "AT+CRFOP=00\r\n";// Power output  0 dbm
  /* HAL function to set LoRa */
  HAL_UART_Transmit( &huart2, PARAMETER, sizeof(PARAMETER)-1, 10000);
  HAL_Delay(500);
  HAL_UART_Transmit( &huart2, BAND, sizeof(BAND)-1, 10000);
  HAL_Delay(500);
  HAL_UART_Transmit( &huart2, CRFOP, sizeof(CRFOP)-1, 10000);
  HAL_Delay(500);
  /* LoRa Setting END */
}
void Uplink_Ground(void)
{
  uint8_t emergency[] ="Emergency return!\r\n";
  uint8_t response[] = "Response OK!\r\n";
  uint8_t mode1_1[] = "AT+SEND=3,24,LoRa communication Link!\r\n";
  switch(RX1_Char)
  {
    case '1'://LoRa Link check
      HAL_UART_Transmit( &huart3, &RX1_Char, 1, 100);
      HAL_UART_Transmit( &huart2, mode1_1, sizeof(mode1_1)-1,100);
      RX1_Char = 0x00;//Mode Reset
      break;
    case '2':
      HAL_UART_Transmit( &huart3, &RX1_Char, 1, 100);//RTC Init response check
      if (HAL_RTC_Init(&hrtc) == HAL_OK) HAL_UART_Transmit( &huart3, response, sizeof(response)-1,100);
      RX1_Char =0x00;
      break;
    case '3'://Accelero response check
      HAL_UART_Transmit( &huart3, &RX1_Char, 1, 100);
      if(BSP_ACCELERO_Init() != ACCELERO_OK) HAL_UART_Transmit( &huart3, response, sizeof(response)-1,100);
      RX1_Char = 0x00;
      break;
    case '4'://Payload test
      HAL_UART_Transmit( &huart3, &RX1_Char, 1, 100);
      RX1_Char = 0x00;
      break;
    case '5'://Enter Beacon Mode
      HAL_UART_Transmit( &huart3, &RX1_Char, 1, 100);
      vTaskSuspend(NULL);
      break;
    case '6'://Emergency Mode
      HAL_UART_Transmit( &huart3, emergency, sizeof(emergency)-1,100);
      RX1_Char = 0x00;
      break;
    case 'A'://Power Ampifilier on
      HAL_UART_Transmit( &huart3, &RX1_Char, 1, 100);
      HAL_GPIO_WritePin(GPIOD,PA_SW_DOUT_Pin,GPIO_PIN_SET);
      RX1_Char = 0x00;
      break;
    case 'B'://Power Ampifilier off
      HAL_UART_Transmit( &huart3, &RX1_Char, 1, 100);
      HAL_GPIO_WritePin(GPIOD,PA_SW_DOUT_Pin,GPIO_PIN_RESET);
      RX1_Char = 0x00;
      break;
    case 'C'://Battery voltage ADC
      HAL_UART_Transmit( &huart3, &RX1_Char, 1, 100);
      /* Add convert */
      RX1_Char = 0x00;
      break;
  }
}

void Accelero_funct(void)
{
  /*USER CODE BEGIN Accelero Init */
  int16_t xyz[3]={0};
  TickType_t xLastWakeTime;
  const portTickType xFrequency = 40;//Sampling rate 40Hz
  xLastWakeTime = xTaskGetTickCount();
  /*USER CODE END Accelero Init */
  for(int i = 0; i < 25; i++)
  {
    BSP_ACCELERO_GetXYZ(xyz);
    acceler_store.data_x[i]=xyz[0];
    acceler_store.data_y[i]=xyz[1];
    acceler_store.data_z[i]=xyz[2];
    vTaskDelayUntil( &xLastWakeTime, xFrequency );
  }
}

void Accelero_RMS_q(void)
{
  /*USER CODE BEGIN Accelero RMS Init */
  accelero_datastruct accelero_data = {.RMS_accelero_x = 0,
                                       .RMS_accelero_y = 0,
                                       .RMS_accelero_z = 0};
  /*USER CODE END Accelero RMS Init */
  arm_rms_q15(acceler_store.data_x,25, &accelero_data.RMS_accelero_x);
  arm_rms_q15(acceler_store.data_y,25, &accelero_data.RMS_accelero_y);
  arm_rms_q15(acceler_store.data_z,25, &accelero_data.RMS_accelero_z);

  xQueueSend( acceleroQueue, &accelero_data,1000);
  /*USER CODE END Accelero RMS */
}

void Flash_Write(uint32_t Flash_Address, uint32_t Flash_Data)
{
  HAL_FLASH_Unlock();

  FLASH_Erase_Sector(FLASH_SECTOR_11,VOLTAGE_RANGE_3);
  for(int i = 0; i < 3; i++)//need test
    HAL_FLASH_Program(FLASH_TYPEPROGRAM_WORD,Flash_Address, Flash_Data);

  HAL_FLASH_Lock();
}

uint32_t Flash_Read(uint32_t Flash_Address)
{
  uint32_t Flash_Data;

  Flash_Data = *(uint32_t*) Flash_Address;
  return Flash_Data;
}

uint8_t Mode_take(void)
{
  uint32_t data;
  data = Flash_Read(0x080E0000);
  if(data == 7)
      return '7';
  if(data == 8)
      return '8';
  return 0x00;
}

void IWDGReset_Init(void)
{
  if(RX1_Char == '7' || RX1_Char == '8'){
    HAL_GPIO_WritePin(GPIOD,PA_SW_DOUT_Pin,GPIO_PIN_SET);
  }
}

void beacon_data_f(void)
{
  /* USER CODE BEGIN Beacon_Init */
  RTC_TimeTypeDef sTime={0};
  accelero_datastruct accelero_data;
  char *str;
  /* USER CODE END Beacon_Init  */
  xQueueReceive( rtcQueue, &sTime, portMAX_DELAY);
  xQueueReceive( acceleroQueue, &accelero_data, portMAX_DELAY);
  //taskENTER_CRITICAL();
  str = pvPortMalloc(20 * sizeof(char));
  sprintf(str,"AT+SEND=3,47,%c,%02d%02d%04d%04d%04d\r\n",RX1_Char,sTime.Minutes,sTime.Seconds,accelero_data.RMS_accelero_x,accelero_data.RMS_accelero_y,accelero_data.RMS_accelero_z);
  HAL_UART_Transmit( &huart2, (uint8_t*)str, strlen(str), 1000);
  memset(&accelero_data, 0, sizeof(accelero_datastruct));
  vPortFree(str);
  //taskEXIT_CRITICAL();
}

/* User CODE END My function */
void LaunchTestTask(void *argument)
{
  /* USER CODE BEGIN  */
  uint8_t response[] = "Launch Test Task\r\n";
  HAL_UART_Transmit( &huart3, response, sizeof(response)-1, 100);
  /* Infinite loop */
  for(;;)
  {
    if(RX1_Char != 0x00){
      Uplink_Ground();
    }
  }
  /* USER CODE END  */
}
void ReferanceTask(void *argument)
{
  /* USER CODE BEGIN  */
  uint8_t response[] = "Enter Referance Task\r\n";
  uint8_t mode5[] = "Ready to Launch\r\n";
  HAL_UART_Transmit( &huart2, response, sizeof(response)-1,100);
  if(RX1_Char != 8) vTaskSuspend(Payload);
  /* Infinite loop */
  for(;;)
  {
    switch(RX1_Char)
    {
      case '5':
        HAL_UART_Transmit( &huart2, mode5, sizeof(mode5)-1,100); /* Mode 5 response */
        vTaskSuspend(NULL);
        break;
      case '7':/* Launch IWDG Init */
        Flash_Write(0x080E0000,0x07);
        vTaskDelete(LaunchTest);
        vTaskSuspend(NULL);
        break;
      case '8':/* Seperate Task ready */
        /*Write flash store 8 */
        vTaskResume(Payload);
        vTaskDelete(Accelero);
        /*Queue Event Reset */
        vQueueDelete(acceleroQueue);// untest
        /* Payload EPS ON */
        vTaskDelete(NULL);
        break;
    }
  }
  /* USER CODE END  */
}
void IwdgTask(void *argument)
{
  /* USER CODE BEGIN  */
  const TickType_t xTicksToWait = 100 / portTICK_PERIOD_MS*10;	/* MAX 1 sec */
  /* Infinite loop */
  for(;;)
  {
    switch(RX1_Char)
    {
      case '5':
        uxBits = xEventGroupWaitBits(iwdgEventGroup,IWDG_BIT_Beacon,pdTRUE,pdTRUE,xTicksToWait);
      case '7':
        uxBits = xEventGroupWaitBits(iwdgEventGroup,IWDG_BIT_Beacon,pdTRUE,pdTRUE,xTicksToWait);
        if((uxBits & IWDG_BIT_Beacon) == IWDG_BIT_Beacon) HAL_IWDG_Refresh(&hiwdg);
        break;
      case '8':
        uxBits = xEventGroupWaitBits(iwdgEventGroup,IWDG_BIT_Payload,pdTRUE,pdTRUE,xTicksToWait);
        if((uxBits & IWDG_BIT_Payload) == IWDG_BIT_Payload) HAL_IWDG_Refresh(&hiwdg);
        break;
    }
  }
  /* USER CODE END  */
}

void RealTimeClockTask(void *argument)
{
  /* USER CODE BEGIN  */
  RTC_TimeTypeDef sTime={0};
  RTC_DateTypeDef sDate={0};
  /* Infinite loop */
  for(;;)
  {
    HAL_RTC_GetTime( &hrtc, &sTime, RTC_FORMAT_BIN);
    HAL_RTC_GetDate( &hrtc, &sDate, RTC_FORMAT_BIN);
    xQueueSend( rtcQueue, &sTime, 1000);
    uxBits = xEventGroupSetBits(iwdgEventGroup, IWDG_BIT_rtcTask);
  }
  /* USER CODE END  */
}

void AcceleroTask(void *argument)
{
  /* USER CODE BEGIN  */

  /* Infinite loop */
  for(;;)
  {
    Accelero_funct();
    Accelero_RMS_q();
    memset(&acceler_store, 0, sizeof(data_store));
    uxBits = xEventGroupSetBits(iwdgEventGroup, IWDG_BIT_acceleroTask);
  }
  /* USER CODE END  */
}

void PayloadTask(void *argument)//By Geroge
{
  /* USER CODE BEGIN  */

  /* Infinite loop */
  for(;;)
  {
   /* Payload Data receive */
  }
  /* USER CODE END  */
}
void TransmitTask(void *argument)
{
  /* USER CODE BEGIN  */

  /* Infinite loop */
  for(;;)
  {
    switch(RX1_Char)
    {
      case '5'://unLuanch Mode
      case '7'://Launch Mode
        beacon_data_f();
        uxBits = xEventGroupSetBits(iwdgEventGroup,IWDG_BIT_transmitTask);
        break;
      case '8'://payload Mode
        /* Payload  function*/
        break;
    }
  }
  /* USER CODE END  */
}

void Error_Handler(void)
{
  __disable_irq();
  while (1)
  {
  }
}

/************************ (C) COPYRIGHT STMicroelectronics *****END OF FILE****/
